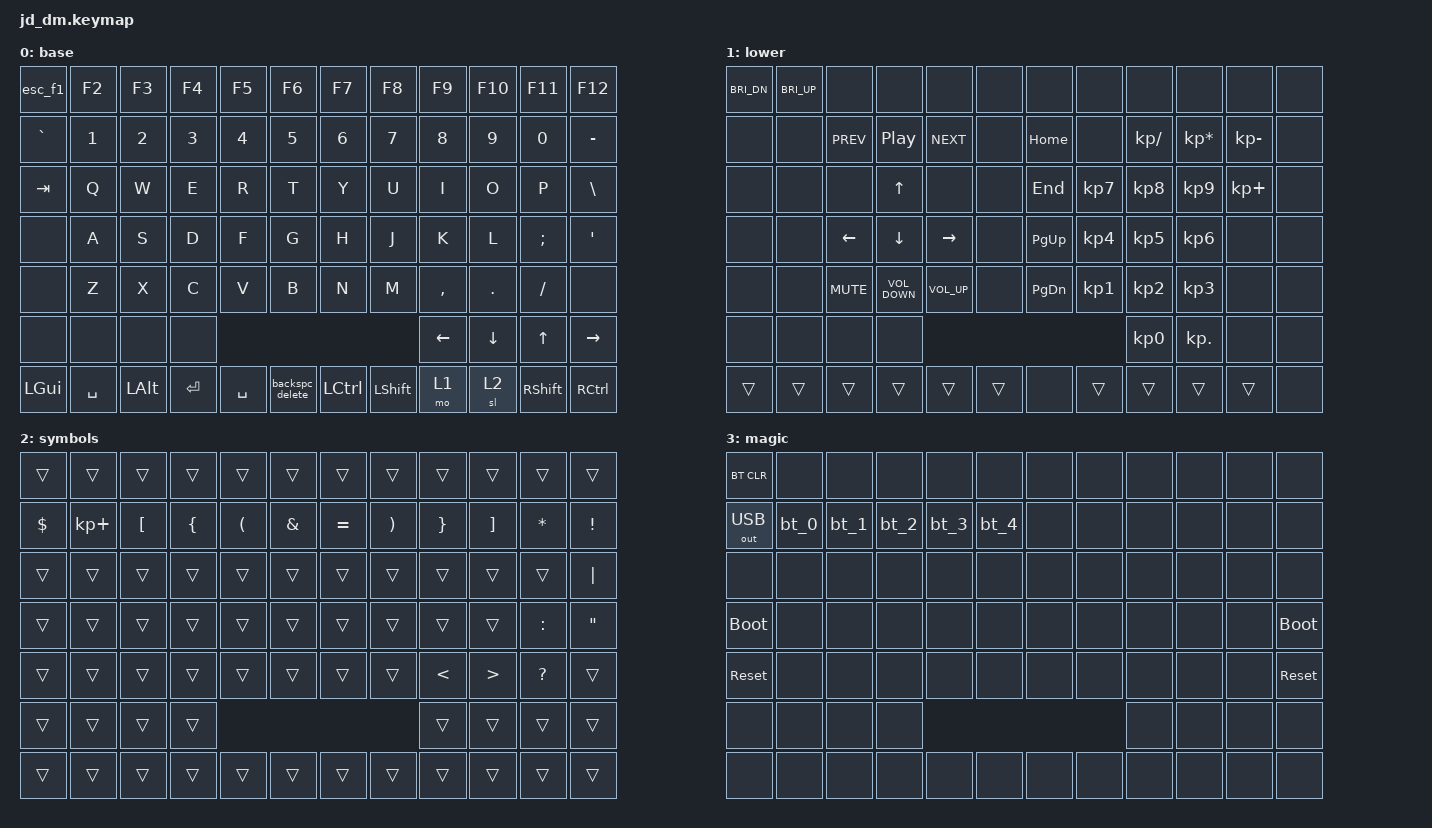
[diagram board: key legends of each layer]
/*
 * Copyright (c) 2020 The ZMK Contributors
 *
 * SPDX-License-Identifier: MIT
 */

#include <behaviors.dtsi>
#include <dt-bindings/zmk/bt.h>
#include <dt-bindings/zmk/keys.h>
#include <dt-bindings/zmk/outputs.h>

// layers

#define DEFAULT 0
#define LOWER 1
#define MAGIC 2

/ {
    behaviors {
        // For the "layer" key, it'd nice to be able to use it as either a shift or a toggle.
        // Configure it as a tap dance, so the first tap (or hold) is a &mo and the second tap is a &to

        backspc_delete: backspc_delete {
            compatible = "zmk,behavior-mod-morph";
            label = "BACKSPC_DELETE";
            bindings = <&kp BACKSPACE>, <&kp DELETE>;

            #binding-cells = <0>;
            mods = <(MOD_LCTL|MOD_LSFT|MOD_RCTL|MOD_RSFT)>;
        };

        esc_f1: esc_f1 {
            compatible = "zmk,behavior-mod-morph";
            label = "ESC_F1";
            bindings = <&kp ESCAPE>, <&kp F1>;

            #binding-cells = <0>;
            mods = <(MOD_LCTL|MOD_LSFT|MOD_LALT|MOD_LGUI|MOD_RCTL|MOD_RSFT|MOD_RALT|MOD_RGUI)>;
        };
    };

    macros {
        bt_0: bt_profile_macro_0 {
            compatible = "zmk,behavior-macro";
            #binding-cells = <0>;
            bindings = <&out OUT_BLE &bt BT_SEL 0>;
        };

        bt_1: bt_profile_macro_1 {
            compatible = "zmk,behavior-macro";
            #binding-cells = <0>;
            bindings = <&out OUT_BLE &bt BT_SEL 1>;
        };

        bt_2: bt_profile_macro_2 {
            compatible = "zmk,behavior-macro";
            #binding-cells = <0>;
            bindings = <&out OUT_BLE &bt BT_SEL 2>;
        };

        bt_3: bt_profile_macro_3 {
            compatible = "zmk,behavior-macro";
            #binding-cells = <0>;
            bindings = <&out OUT_BLE &bt BT_SEL 3>;
        };

        bt_4: bt4 {
            compatible = "zmk,behavior-macro";
            #binding-cells = <0>;
            bindings = <&out OUT_BLE &bt BT_SEL 4>;
            label = "BT4";
        };
    };

    combos {
        compatible = "zmk,combos";

        magic_combo {
            bindings = <&sl 3>;
            key-positions = <76 77>;
        };

        shift_caps {
            bindings = <&kp CAPSLOCK>;
            key-positions = <75 78>;
        };
    };

    keymap {
        compatible = "zmk,keymap";

        base {
            // ---------------------------------------------------------------------------------------------------------------------------------
            // |   F1   |  F2  |  F3  |  F4  |  F5  |  F6                                                    |  F7  |   F8  |   F9  |   F10 |  F11  |  F12   |
            // |   ECS  |  1   |  2   |  3   |  4   |  5   |                                                 |  6   |   7   |   8   |   9   |   0   |   -    |
            // |   TAB  |  Q   |  W   |  E   |  R   |  T   |                                                 |  Y   |   U   |   I   |   O   |   P   |   \    |
            // |   CAP  |  A   |  S   |  D   |  F   |  G   |                                                 |  H   |   J   |   K   |   L   |   ;   |    '   |
            // | LSHIFT |  Z   |  X   |  C   |  V   |  B   |                                                 |  N   |   M   |   ,   |   .   |   /   | RSHIFT |
            // | LCTRL  | META | LALT |  .   |      |      |                                                 |      |       |   /   | RCTRL |  mo2  |  mo2   |
            //                                             |  1  |  2  |  3  |             |  7  |  8  |  9  |
            //                                             |  4  |  5  |  6  |             |  0  |  ,  |  .  |

            bindings = <
&esc_f1    &kp F2     &kp F3        &kp F4     &kp F5     &kp F6             &kp F7            &kp F8          &kp F9          &kp F10         &kp F11          &kp F12
&kp GRAVE  &kp N1     &kp N2        &kp N3     &kp N4     &kp N5             &kp N6            &kp N7          &kp N8          &kp N9          &kp N0           &kp MINUS
&kp TAB    &kp Q      &kp W         &kp E      &kp R      &kp T              &kp Y             &kp U           &kp I           &kp O           &kp P            &kp BSLH
&none      &kp A      &kp S         &kp D      &kp F      &kp G              &kp H             &kp J           &kp K           &kp L           &kp SEMI         &kp SINGLE_QUOTE
&none      &kp Z      &kp X         &kp C      &kp V      &kp B              &kp N             &kp M           &kp COMMA       &kp PERIOD      &kp SLASH        &none
&none      &none      &none         &none                                                                      &kp LEFT_ARROW  &kp DOWN_ARROW  &kp UP_ARROW     &kp RIGHT
&kp LGUI   &kp SPACE  &kp LEFT_ALT  &kp ENTER  &kp SPACE  &backspc_delete    &kp LEFT_CONTROL  &kp LEFT_SHIFT  &mo 1           &sl 2           &kp RIGHT_SHIFT  &kp RIGHT_CONTROL
            >;
        };

        lower {
            bindings = <
&kp C_BRI_DN  &kp C_BRI_UP  &none       &none              &none            &none     &none      &none      &none         &none            &none         &none
&none         &none         &kp C_PREV  &kp C_PLAY_PAUSE   &kp C_NEXT       &none     &kp HOME   &none      &kp KP_SLASH  &kp KP_ASTERISK  &kp KP_MINUS  &none
&none         &none         &none       &kp UP             &none            &none     &kp END    &kp KP_N7  &kp KP_N8     &kp KP_N9        &kp KP_PLUS   &none
&none         &none         &kp LEFT    &kp DOWN           &kp RIGHT        &none     &kp PG_UP  &kp KP_N4  &kp KP_N5     &kp KP_N6        &none         &none
&none         &none         &kp K_MUTE  &kp C_VOLUME_DOWN  &kp C_VOLUME_UP  &none     &kp PG_DN  &kp KP_N1  &kp KP_N2     &kp KP_N3        &none         &none
&none         &none         &none       &none                                                               &kp KP_N0     &kp KP_DOT       &none         &none
&trans        &trans        &trans      &trans             &trans           &trans    &none      &trans     &trans        &trans           &trans        &none
            >;
        };

        symbols {
            bindings = <
&trans      &trans       &trans    &trans          &trans                &trans           &trans     &trans                 &trans           &trans    &trans        &trans
&kp DOLLAR  &kp KP_PLUS  &kp LBKT  &kp LEFT_BRACE  &kp LEFT_PARENTHESIS  &kp AMPERSAND    &kp EQUAL  &kp RIGHT_PARENTHESIS  &kp RIGHT_BRACE  &kp RBKT  &kp ASTERISK  &kp EXCLAMATION
&trans      &trans       &trans    &trans          &trans                &trans           &trans     &trans                 &trans           &trans    &trans        &kp PIPE
&trans      &trans       &trans    &trans          &trans                &trans           &trans     &trans                 &trans           &trans    &kp COLON     &kp DOUBLE_QUOTES
&trans      &trans       &trans    &trans          &trans                &trans           &trans     &trans                 &kp LT           &kp GT    &kp QUESTION  &trans
&trans      &trans       &trans    &trans                                                                                   &trans           &trans    &trans        &trans
&trans      &trans       &trans    &trans          &trans                &trans           &trans     &trans                 &trans           &trans    &trans        &trans
            >;
        };

        magic {
            bindings = <
&bt BT_CLR    &none  &none  &none  &none  &none    &none  &none  &none  &none  &none  &none
&out OUT_USB  &bt_0  &bt_1  &bt_2  &bt_3  &bt_4    &none  &none  &none  &none  &none  &none
&none         &none  &none  &none  &none  &none    &none  &none  &none  &none  &none  &none
&bootloader   &none  &none  &none  &none  &none    &none  &none  &none  &none  &none  &bootloader
&sys_reset    &none  &none  &none  &none  &none    &none  &none  &none  &none  &none  &sys_reset
&none         &none  &none  &none                                &none  &none  &none  &none
&none         &none  &none  &none  &none  &none    &none  &none  &none  &none  &none  &none
            >;
        };
    };
};
